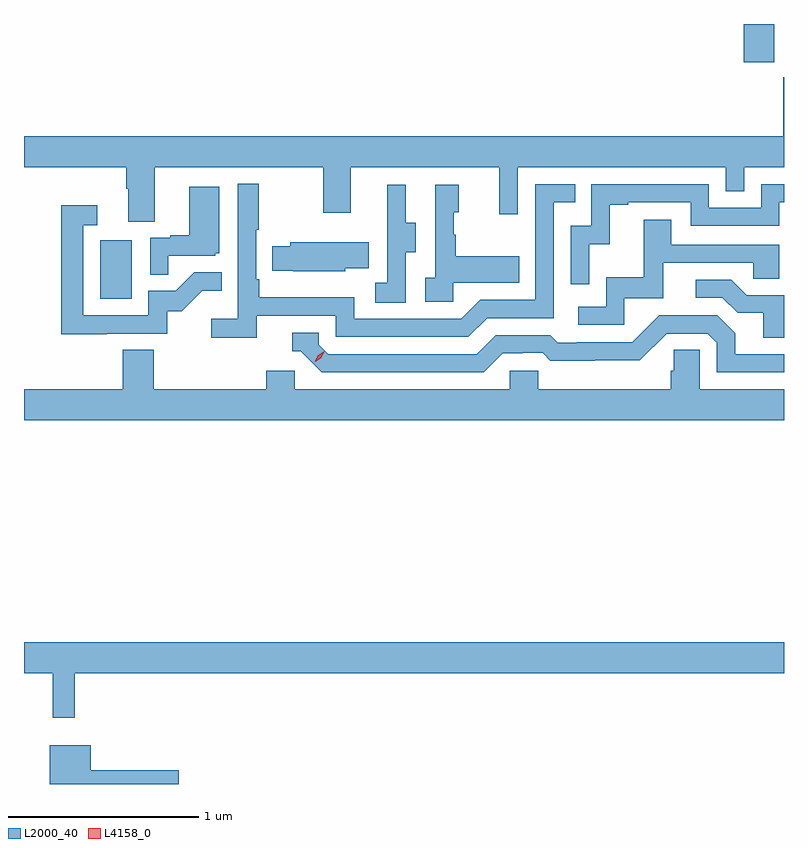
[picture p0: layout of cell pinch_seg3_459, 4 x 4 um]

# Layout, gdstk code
import gdstk
lib = gdstk.Library(unit=1e-6, precision=1e-09)
def R(c, l, rs):  # rectangles x0, y0, x1, y1
    for r in rs: c.add(gdstk.rectangle(r[:2], r[2:], *l))
def P(c, l, *ps):  # polygons
    for p in ps: c.add(gdstk.Polygon(p, *l))
L2000_40 = (2000, 40)
L4158_0 = (4158, 0)

pinch_seg3_459 = lib.new_cell('pinch_seg3_459')
R(pinch_seg3_459, L2000_40, [(900.806,677.58,900.97,677.887), (904.193,678.825,904.353,679.026)])
P(pinch_seg3_459, L2000_40, [(901.093,678.272),(901.978,678.272),(901.978,678.033),(902.125,678.033),(902.125,678.272),(902.906,678.272),(902.906,678.024),(903.003,678.024),(903.003,678.272),(904.098,678.272),(904.098,678.145),(904.194,678.145),(904.194,678.272),(904.404,678.272),(904.404,678.745),(904.4,678.745),(904.4,678.436),(900.404,678.436),(900.404,678.272),(900.941,678.272),(900.941,678.16),(900.953,678.16),(900.953,677.986),(901.093,677.986)],
  [(901.628,677.49),(902.046,677.49),(902.046,677.379),(902.743,677.379),(902.842,677.478),(903.192,677.478),(903.192,678.087),(903.305,678.087),(903.305,678.183),(903.096,678.183),(903.096,677.574),(902.805,677.574),(902.706,677.475),(902.142,677.475),(902.142,677.587),(901.643,677.587),(901.643,677.683),(901.626,677.683),(901.626,677.944),(901.639,677.944),(901.639,678.184),(901.53,678.184),(901.53,677.476),(901.389,677.476),(901.389,677.374),(901.628,677.374)],
  [(903.378,677.867),(903.488,677.867),(903.488,678.075),(903.583,678.075),(903.583,678.087),(903.912,678.087),(903.912,677.964),(904.38,677.964),(904.38,678.087),(904.404,678.087),(904.404,678.183),(904.284,678.183),(904.284,678.06),(904.008,678.06),(904.008,678.183),(903.39,678.183),(903.39,677.964),(903.282,677.964),(903.282,677.655),(903.378,677.655)],
  [(902.412,677.824),(902.467,677.824),(902.467,677.979),(902.413,677.979),(902.413,678.181),(902.315,678.181),(902.315,677.967),(902.316,677.967),(902.316,677.663),(902.253,677.663),(902.253,677.56),(902.412,677.56)],
  [(902.664,677.663),(903.011,677.663),(903.011,677.803),(902.677,677.803),(902.677,677.918),(902.667,677.918),(902.667,678.036),(902.692,678.036),(902.692,678.181),(902.568,678.181),(902.568,677.69),(902.517,677.69),(902.517,677.565),(902.664,677.565)],
  [(901.163,677.805),(901.41,677.805),(901.41,677.82),(901.432,677.82),(901.432,678.169),(901.274,678.169),(901.274,677.914),(901.175,677.914),(901.175,677.901),(901.068,677.901),(901.068,677.707),(901.163,677.707)],
  [(900.839,677.397),(901.158,677.397),(901.158,677.514),(901.234,677.514),(901.341,677.621),(901.445,677.621),(901.445,677.72),(901.301,677.72),(901.203,677.622),(901.059,677.622),(901.059,677.493),(900.717,677.493),(900.717,677.967),(900.79,677.967),(900.79,678.073),(900.601,678.073),(900.601,677.392),(900.839,677.392)],
  [(903.564,677.583),(903.769,677.583),(903.769,677.769),(904.243,677.769),(904.243,677.685),(904.38,677.685),(904.38,677.865),(903.811,677.865),(903.811,677.995),(903.667,677.995),(903.667,677.692),(903.468,677.692),(903.468,677.538),(903.321,677.538),(903.321,677.442),(903.564,677.442)],
  [(902.094,677.741),(902.219,677.741),(902.219,677.878),(901.805,677.878),(901.805,677.856),(901.711,677.856),(901.711,677.727),(901.822,677.727),(901.822,677.726),(902.094,677.726)],
  [(904.404,677.598),(904.207,677.598),(904.126,677.679),(903.939,677.679),(903.939,677.586),(904.08,677.586),(904.16,677.506),(904.295,677.506),(904.295,677.374),(904.404,677.374)],
  [(902.923,677.292),(903.03,677.292),(903.03,677.295),(903.133,677.295),(903.175,677.253),(903.408,677.253),(903.408,677.255),(903.644,677.255),(903.786,677.397),(904.002,677.397),(904.05,677.349),(904.05,677.193),(904.404,677.193),(904.404,677.289),(904.147,677.289),(904.147,677.399),(904.053,677.493),(903.747,677.493),(903.606,677.352),(903.313,677.352),(903.313,677.349),(903.214,677.349),(903.175,677.388),(902.886,677.388),(902.787,677.289),(902.004,677.289),(901.956,677.337),(901.956,677.4),(901.817,677.4),(901.817,677.304),(901.86,677.304),(901.971,677.193),(902.824,677.193)],
  [(904.404,677.104),(903.96,677.104),(903.96,677.312),(903.823,677.312),(903.823,677.202),(903.809,677.202),(903.809,677.104),(903.111,677.104),(903.111,677.202),(902.961,677.202),(902.961,677.104),(901.83,677.104),(901.83,677.202),(901.679,677.202),(901.679,677.104),(901.088,677.104),(901.088,677.312),(900.923,677.312),(900.923,677.104),(900.404,677.104),(900.404,676.94),(904.404,676.94)],
  [(900.671,675.608),(904.404,675.608),(904.404,675.772),(900.404,675.772),(900.404,675.608),(900.554,675.608),(900.554,675.375),(900.671,675.375)],
  [(901.219,675.098),(900.754,675.098),(900.754,675.229),(900.539,675.229),(900.539,675.026),(901.219,675.026)])
P(pinch_seg3_459, L4158_0, [(901.935,677.249),(901.935,677.249),(901.952,677.282),(901.982,677.301),(901.983,677.301),(901.983,677.3),(901.966,677.268),(901.936,677.249)])

lib.write_gds('pinch_seg3_459.gds')
